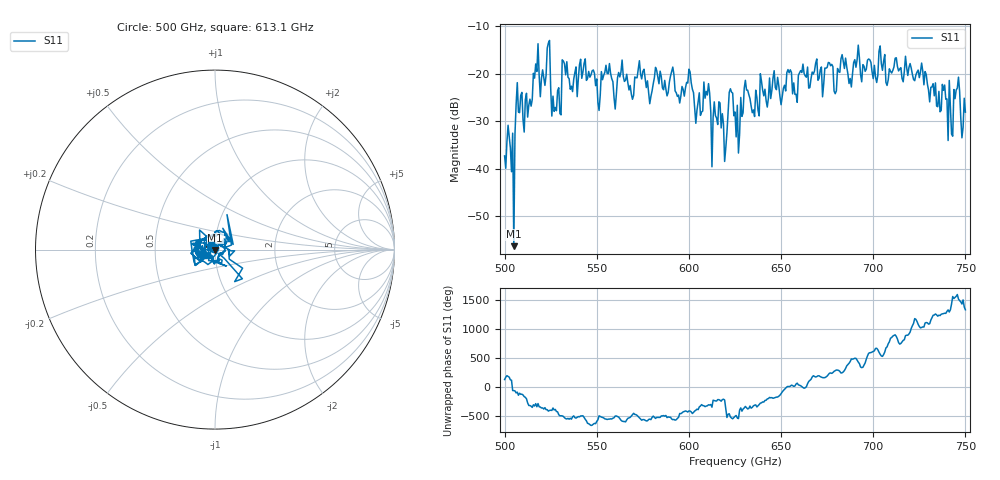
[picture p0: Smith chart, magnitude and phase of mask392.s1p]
!Created with skrf (http://scikit-rf.org).
# GHz S MA R 50.0
!freq magS11 angS11
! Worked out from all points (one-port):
!   401 points, 500 GHz to 750 GHz, reference 50 ohm
!   lowest |S11| = -56.2 dB at 505 GHz (marker M1), VSWR 1.00, Z = 50.1 - j0.141 ohm
!   |S11| at or under -10 dB: start of sweep to end of sweep
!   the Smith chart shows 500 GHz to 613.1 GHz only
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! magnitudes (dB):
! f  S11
! 500 GHz  -37.3
! 505 GHz  -56.2
! 507.5 GHz  -28.1
! 513.8 GHz  -25.4
! 516.9 GHz  -18.0
! 520.6 GHz  -19.2
! 523.8 GHz  -13.6
! 526.9 GHz  -27.9
! 531.2 GHz  -17.1
! 550.6 GHz  -26.1
! 556.2 GHz  -20.0
! 560 GHz  -27.4
! 562.5 GHz  -20.7
! 593.8 GHz  -24.8
! 609.4 GHz  -23.7
! 619.4 GHz  -38.4
! 622.5 GHz  -23.2
! 625 GHz  -28.1
! 656.2 GHz  -24.3
! 680 GHz  -23.6
! 683.8 GHz  -17.4
! 687.5 GHz  -21.0
! 691.2 GHz  -17.1
! 718.8 GHz  -20.4
! 738.8 GHz  -22.4
! 741.9 GHz  -27.3
! 745 GHz  -23.4
! 750 GHz  -28.1
